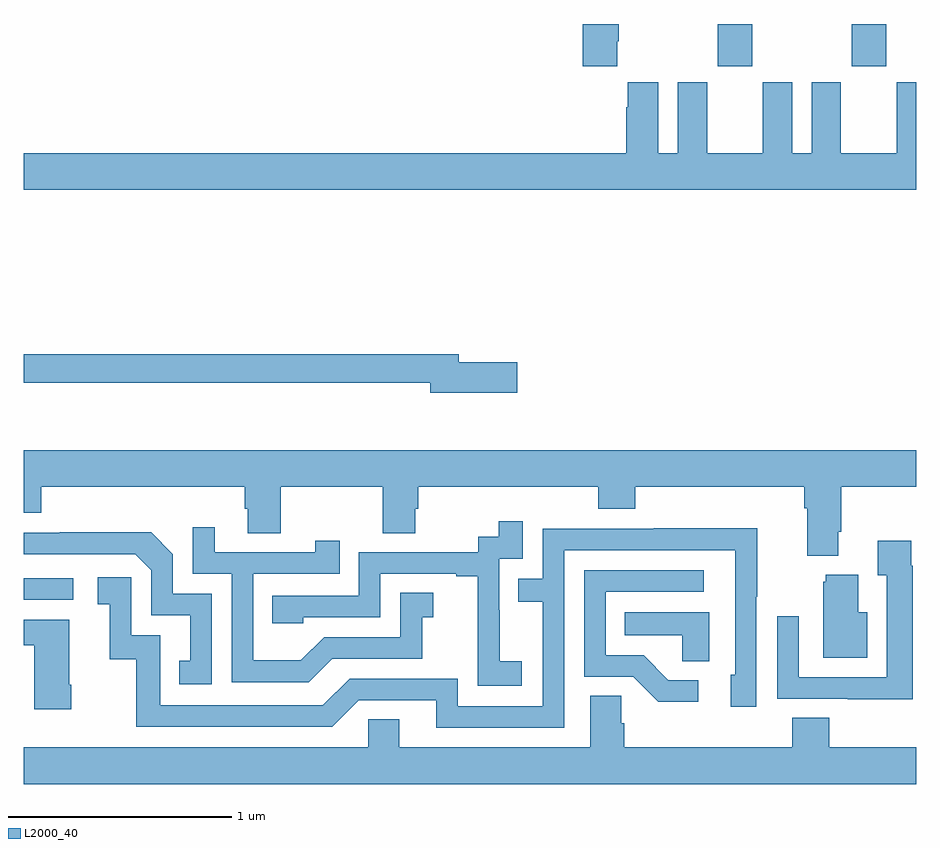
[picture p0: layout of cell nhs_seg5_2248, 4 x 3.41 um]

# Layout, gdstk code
import gdstk
lib = gdstk.Library(unit=1e-6, precision=1e-09)
def R(c, l, rs):  # rectangles x0, y0, x1, y1
    for r in rs: c.add(gdstk.rectangle(r[:2], r[2:], *l))
def P(c, l, *ps):  # polygons
    for p in ps: c.add(gdstk.Polygon(p, *l))
L2000_40 = (2000, 40)

nhs_seg5_2248 = lib.new_cell('nhs_seg5_2248')
R(nhs_seg5_2248, L2000_40, [(241,892.218,241.222,892.314), (244.111,894.609,244.266,894.799), (244.711,894.609,244.866,894.799)])
P(nhs_seg5_2248, L2000_40, [(243.661,894.721),(243.666,894.721),(243.666,894.799),(243.506,894.799),(243.506,894.609),(243.661,894.609)],
  [(245,894.538),(244.913,894.538),(244.913,894.22),(244.663,894.22),(244.663,894.538),(244.532,894.538),(244.532,894.22),(244.444,894.22),(244.444,894.538),(244.313,894.538),(244.313,894.22),(244.063,894.22),(244.063,894.538),(243.932,894.538),(243.932,894.22),(243.844,894.22),(243.844,894.538),(243.707,894.538),(243.707,894.425),(243.701,894.425),(243.701,894.22),(241,894.22),(241,894.056),(245,894.056)],
  [(243.211,893.282),(242.95,893.282),(242.95,893.318),(241,893.318),(241,893.19),(242.822,893.19),(242.822,893.147),(243.211,893.147)],
  [(244.651,892.522),(244.664,892.522),(244.664,892.724),(245,892.724),(245,892.888),(241,892.888),(241,892.607),(241.079,892.607),(241.079,892.724),(241.991,892.724),(241.991,892.626),(242.003,892.626),(242.003,892.516),(242.151,892.516),(242.151,892.724),(242.608,892.724),(242.608,892.516),(242.755,892.516),(242.755,892.626),(242.768,892.626),(242.768,892.724),(243.575,892.724),(243.575,892.625),(243.74,892.625),(243.74,892.724),(244.499,892.724),(244.499,892.628),(244.511,892.628),(244.511,892.415),(244.651,892.415)],
  [(243.232,891.943),(243.134,891.943),(243.134,892.172),(243.132,892.172),(243.132,892.401),(243.237,892.401),(243.237,892.57),(243.129,892.57),(243.129,892.5),(243.036,892.5),(243.036,892.431),(242.502,892.431),(242.502,892.236),(242.113,892.236),(242.113,892.113),(242.253,892.113),(242.253,892.14),(242.598,892.14),(242.598,892.335),(242.939,892.335),(242.939,892.323),(243.035,892.323),(243.035,892.039),(243.034,892.039),(243.034,891.833),(243.232,891.833)],
  [(242.383,891.954),(242.787,891.954),(242.787,892.139),(242.836,892.139),(242.836,892.249),(242.688,892.249),(242.688,892.05),(242.346,892.05),(242.242,891.946),(242.028,891.946),(242.028,892.335),(242.417,892.335),(242.417,892.483),(242.306,892.483),(242.306,892.431),(241.855,892.431),(241.855,892.543),(241.758,892.543),(241.758,892.335),(241.932,892.335),(241.932,891.849),(242.278,891.849)],
  [(243.423,892.44),(244.188,892.44),(244.188,891.882),(244.169,891.882),(244.169,891.738),(244.284,891.738),(244.284,892.231),(244.287,892.231),(244.287,892.538),(243.823,892.538),(243.823,892.536),(243.327,892.536),(243.327,892.311),(243.217,892.311),(243.217,892.21),(243.327,892.21),(243.327,891.741),(242.946,891.741),(242.946,891.864),(242.46,891.864),(242.34,891.744),(241.611,891.744),(241.611,892.059),(241.482,892.059),(241.482,892.318),(241.332,892.318),(241.332,892.197),(241.385,892.197),(241.385,891.951),(241.503,891.951),(241.503,891.648),(242.382,891.648),(242.502,891.768),(242.849,891.768),(242.849,891.645),(243.423,891.645)],
  [(241.842,892.245),(241.668,892.245),(241.668,892.422),(241.57,892.52),(241.162,892.52),(241.162,892.518),(241,892.518),(241,892.422),(241.5,892.422),(241.572,892.35),(241.572,892.149),(241.745,892.149),(241.745,891.945),(241.696,891.945),(241.696,891.84),(241.842,891.84)],
  [(244.985,892.37),(244.978,892.37),(244.978,892.483),(244.829,892.483),(244.829,892.327),(244.869,892.327),(244.869,891.87),(244.473,891.87),(244.473,892.144),(244.377,892.144),(244.377,891.774),(244.693,891.774),(244.693,891.773),(244.985,891.773)],
  [(244.024,891.858),(243.889,891.858),(243.778,891.969),(243.609,891.969),(243.609,892.254),(244.048,892.254),(244.048,892.35),(243.513,892.35),(243.513,891.873),(243.732,891.873),(243.845,891.761),(244.024,891.761)],
  [(244.78,892.162),(244.741,892.162),(244.741,892.33),(244.595,892.33),(244.595,892.299),(244.583,892.299),(244.583,891.959),(244.78,891.959)],
  [(244.072,892.162),(243.694,892.162),(243.694,892.058),(243.951,892.058),(243.951,891.943),(244.072,891.943)],
  [(241.212,891.838),(241.204,891.838),(241.204,892.129),(241,892.129),(241,892.015),(241.046,892.015),(241.046,891.726),(241.212,891.726)],
  [(242.544,891.683),(242.544,891.556),(241,891.556),(241,891.392),(245,891.392),(245,891.556),(244.61,891.556),(244.61,891.689),(244.445,891.689),(244.445,891.556),(243.692,891.556),(243.692,891.665),(243.678,891.665),(243.678,891.788),(243.539,891.788),(243.539,891.556),(242.683,891.556),(242.683,891.683)])

lib.write_gds('nhs_seg5_2248.gds')
